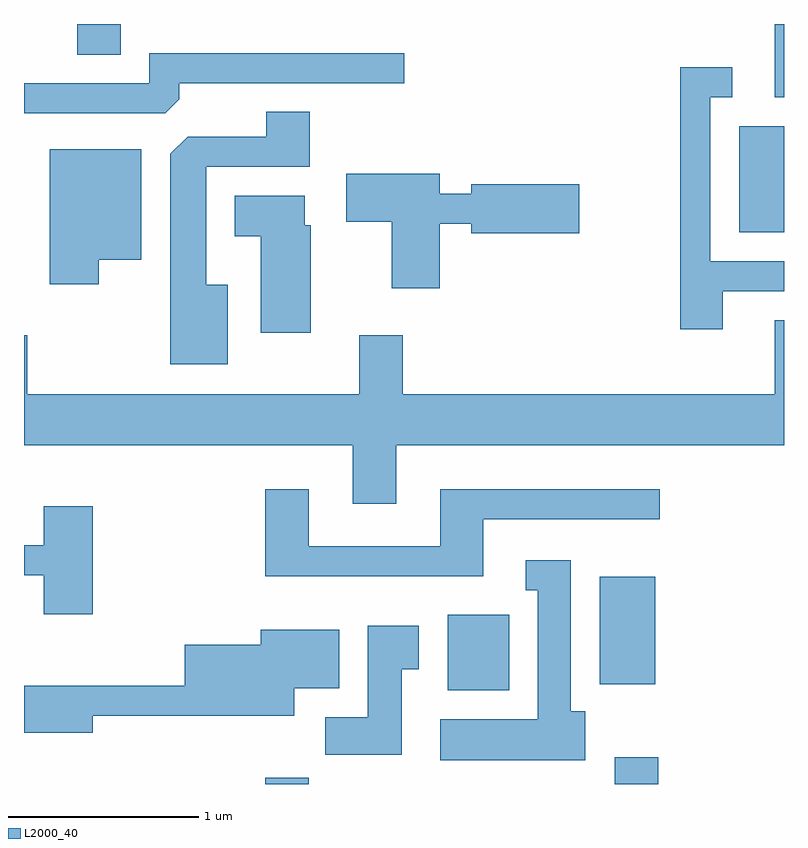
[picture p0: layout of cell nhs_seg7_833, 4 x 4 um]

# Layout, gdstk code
import gdstk
lib = gdstk.Library(unit=1e-6, precision=1e-09)
def R(c, l, rs):  # rectangles x0, y0, x1, y1
    for r in rs: c.add(gdstk.rectangle(r[:2], r[2:], *l))
def P(c, l, *ps):  # polygons
    for p in ps: c.add(gdstk.Polygon(p, *l))
L2000_40 = (2000, 40)

nhs_seg7_833 = lib.new_cell('nhs_seg7_833')
R(nhs_seg7_833, L2000_40, [(210.881,1770.252,211.109,1770.284), (212.721,1770.252,212.949,1770.394), (211.841,1770.746,212.164,1771.144), (212.641,1770.776,212.934,1771.344), (213.376,1773.156,213.611,1773.714), (213.561,1773.866,213.611,1774.252), (209.891,1774.091,210.119,1774.252)])
P(nhs_seg7_833, L2000_40, [(210.429,1773.857),(210.429,1773.941),(211.613,1773.941),(211.613,1774.099),(210.271,1774.099),(210.271,1773.939),(209.611,1773.939),(209.611,1773.781),(210.354,1773.781)],
  [(213.289,1772.846),(213.611,1772.846),(213.611,1773.004),(213.224,1773.004),(213.224,1773.866),(213.338,1773.866),(213.338,1774.024),(213.066,1774.024),(213.066,1772.646),(213.289,1772.646)],
  [(210.684,1772.879),(210.569,1772.879),(210.569,1773.501),(211.114,1773.501),(211.114,1773.789),(210.886,1773.789),(210.886,1773.659),(210.472,1773.659),(210.381,1773.569),(210.381,1772.461),(210.684,1772.461)],
  [(210.004,1773.011),(210.229,1773.011),(210.229,1773.594),(209.746,1773.594),(209.746,1772.881),(210.004,1772.881)],
  [(211.799,1773.201),(211.966,1773.201),(211.966,1773.151),(212.534,1773.151),(212.534,1773.409),(211.966,1773.409),(211.966,1773.359),(211.799,1773.359),(211.799,1773.464),(211.306,1773.464),(211.306,1773.211),(211.546,1773.211),(211.546,1772.861),(211.799,1772.861)],
  [(211.119,1773.194),(211.089,1773.194),(211.089,1773.349),(210.721,1773.349),(210.721,1773.136),(210.856,1773.136),(210.856,1772.626),(211.119,1772.626)],
  [(211.569,1772.036),(213.611,1772.036),(213.611,1772.694),(213.561,1772.694),(213.561,1772.304),(211.604,1772.304),(211.604,1772.614),(211.376,1772.614),(211.376,1772.304),(209.629,1772.304),(209.629,1772.614),(209.611,1772.614),(209.611,1772.036),(211.341,1772.036),(211.341,1771.726),(211.569,1771.726)],
  [(212.029,1771.646),(212.958,1771.646),(212.958,1771.804),(211.801,1771.804),(211.801,1771.504),(211.109,1771.504),(211.109,1771.804),(210.881,1771.804),(210.881,1771.346),(212.029,1771.346)],
  [(209.974,1771.714),(209.716,1771.714),(209.716,1771.509),(209.611,1771.509),(209.611,1771.351),(209.716,1771.351),(209.716,1771.146),(209.974,1771.146)],
  [(212.564,1770.634),(212.489,1770.634),(212.489,1771.429),(212.253,1771.429),(212.253,1771.271),(212.316,1771.271),(212.316,1770.594),(211.801,1770.594),(211.801,1770.376),(212.564,1770.376)],
  [(211.599,1770.856),(211.689,1770.856),(211.689,1771.084),(211.421,1771.084),(211.421,1770.604),(211.196,1770.604),(211.196,1770.406),(211.599,1770.406)],
  [(209.974,1770.611),(211.034,1770.611),(211.034,1770.756),(211.269,1770.756),(211.269,1771.064),(210.856,1771.064),(210.856,1770.984),(210.456,1770.984),(210.456,1770.769),(209.611,1770.769),(209.611,1770.521),(209.974,1770.521)])

lib.write_gds('nhs_seg7_833.gds')
